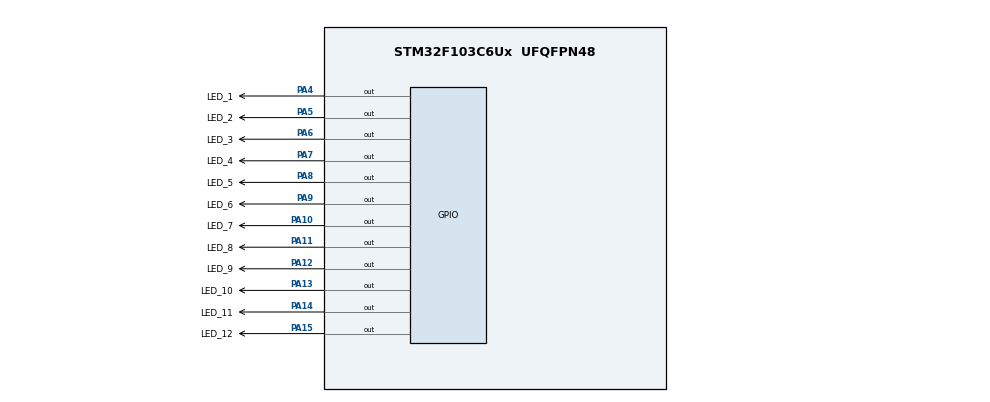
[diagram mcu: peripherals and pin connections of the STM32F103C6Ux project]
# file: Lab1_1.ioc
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Mcu.Family=STM32F1
Mcu.Name=STM32F103C6Ux
Mcu.Package=UFQFPN48
NVIC.PriorityGroup=NVIC_PRIORITYGROUP_4
PA10.GPIO_Label=LED_7
PA10.Signal=GPIO_Output
PA11.GPIO_Label=LED_8
PA11.Signal=GPIO_Output
PA12.GPIO_Label=LED_9
PA12.Signal=GPIO_Output
PA13.GPIO_Label=LED_10
PA13.Signal=GPIO_Output
PA14.GPIO_Label=LED_11
PA14.Signal=GPIO_Output
PA15.GPIO_Label=LED_12
PA15.Signal=GPIO_Output
PA4.GPIO_Label=LED_1
PA4.Signal=GPIO_Output
PA5.GPIO_Label=LED_2
PA5.Signal=GPIO_Output
PA6.GPIO_Label=LED_3
PA6.Signal=GPIO_Output
PA7.GPIO_Label=LED_4
PA7.Signal=GPIO_Output
PA8.GPIO_Label=LED_5
PA8.Signal=GPIO_Output
PA9.GPIO_Label=LED_6
PA9.Signal=GPIO_Output
ProjectManager.HeapSize=0x200
ProjectManager.StackSize=0x400
ProjectManager.TargetToolchain=STM32CubeIDE
RCC.APB1Freq_Value=8000000
RCC.APB2Freq_Value=8000000
VP_SYS_VS_ND.Mode=No_Debug
board=custom

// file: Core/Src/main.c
/* USER CODE BEGIN Header */
/**
  ******************************************************************************
  * @file           : main.c
  * @brief          : Main program body
  ******************************************************************************
  * @attention
  *
  * <h2><center>&copy; Copyright (c) 2024 STMicroelectronics.
  * All rights reserved.</center></h2>
  *
  * This software component is licensed by ST under BSD 3-Clause license,
  * the "License"; You may not use this file except in compliance with the
  * License. You may obtain a copy of the License at:
  *                        opensource.org/licenses/BSD-3-Clause
  *
  ******************************************************************************
  */
/* USER CODE END Header */
#include "main.h"

void SystemClock_Config(void);
static void MX_GPIO_Init(void);
void Exercise6_Run(void);
void Exercise7_Run(void);
void Exercise8_Run(void);
void Exercise9_Run(void);
void Exercise10_Run(void);

int main(void)
{

  /* MCU Configuration--------------------------------------------------------*/

  /* Reset of all peripherals, Initializes the Flash interface and the Systick. */
  HAL_Init();

  /* Configure the system clock */
  SystemClock_Config();

  /* Initialize all configured peripherals */
  MX_GPIO_Init();
  /* USER CODE BEGIN 2 */
  Exercise10_Run();
  /* USER CODE END 2 */

  /* Infinite loop */

}

void SystemClock_Config(void)
{
  RCC_OscInitTypeDef RCC_OscInitStruct = {0};
  RCC_ClkInitTypeDef RCC_ClkInitStruct = {0};

  /** Initializes the RCC Oscillators according to the specified parameters
  * in the RCC_OscInitTypeDef structure.
  */
  RCC_OscInitStruct.OscillatorType = RCC_OSCILLATORTYPE_HSI;
  RCC_OscInitStruct.HSIState = RCC_HSI_ON;
  RCC_OscInitStruct.HSICalibrationValue = RCC_HSICALIBRATION_DEFAULT;
  RCC_OscInitStruct.PLL.PLLState = RCC_PLL_NONE;
  if (HAL_RCC_OscConfig(&RCC_OscInitStruct) != HAL_OK)
  {
    Error_Handler();
  }
  /** Initializes the CPU, AHB and APB buses clocks
  */
  RCC_ClkInitStruct.ClockType = RCC_CLOCKTYPE_HCLK|RCC_CLOCKTYPE_SYSCLK
                              |RCC_CLOCKTYPE_PCLK1|RCC_CLOCKTYPE_PCLK2;
  RCC_ClkInitStruct.SYSCLKSource = RCC_SYSCLKSOURCE_HSI;
  RCC_ClkInitStruct.AHBCLKDivider = RCC_SYSCLK_DIV1;
  RCC_ClkInitStruct.APB1CLKDivider = RCC_HCLK_DIV1;
  RCC_ClkInitStruct.APB2CLKDivider = RCC_HCLK_DIV1;

  if (HAL_RCC_ClockConfig(&RCC_ClkInitStruct, FLASH_LATENCY_0) != HAL_OK)
  {
    Error_Handler();
  }
}

static void MX_GPIO_Init(void)
{
  GPIO_InitTypeDef GPIO_InitStruct = {0};

  /* GPIO Ports Clock Enable */
  __HAL_RCC_GPIOA_CLK_ENABLE();

  /*Configure GPIO pin Output Level */
  HAL_GPIO_WritePin(GPIOA, LED_1_Pin|LED_2_Pin|LED_3_Pin|LED_4_Pin
                          |LED_5_Pin|LED_6_Pin|LED_7_Pin|LED_8_Pin
                          |LED_9_Pin|LED_10_Pin|LED_11_Pin|LED_12_Pin, GPIO_PIN_RESET);

  /*Configure GPIO pins : LED_1_Pin LED_2_Pin LED_3_Pin LED_4_Pin
                           LED_5_Pin LED_6_Pin LED_7_Pin LED_8_Pin
                           LED_9_Pin LED_10_Pin LED_11_Pin LED_12_Pin */
  GPIO_InitStruct.Pin = LED_1_Pin|LED_2_Pin|LED_3_Pin|LED_4_Pin
                          |LED_5_Pin|LED_6_Pin|LED_7_Pin|LED_8_Pin
                          |LED_9_Pin|LED_10_Pin|LED_11_Pin|LED_12_Pin;
  GPIO_InitStruct.Mode = GPIO_MODE_OUTPUT_PP;
  GPIO_InitStruct.Pull = GPIO_NOPULL;
  GPIO_InitStruct.Speed = GPIO_SPEED_FREQ_LOW;
  HAL_GPIO_Init(GPIOA, &GPIO_InitStruct);

}

/* USER CODE BEGIN 4 */
void clearAllClock(void){
	HAL_GPIO_WritePin(LED_1_GPIO_Port , LED_1_Pin, GPIO_PIN_RESET);
	HAL_GPIO_WritePin(LED_2_GPIO_Port , LED_2_Pin, GPIO_PIN_RESET);
	HAL_GPIO_WritePin(LED_3_GPIO_Port , LED_3_Pin, GPIO_PIN_RESET);
	HAL_GPIO_WritePin(LED_4_GPIO_Port , LED_4_Pin, GPIO_PIN_RESET);
	HAL_GPIO_WritePin(LED_5_GPIO_Port , LED_5_Pin, GPIO_PIN_RESET);
	HAL_GPIO_WritePin(LED_6_GPIO_Port , LED_6_Pin, GPIO_PIN_RESET);
	HAL_GPIO_WritePin(LED_7_GPIO_Port , LED_7_Pin, GPIO_PIN_RESET);
	HAL_GPIO_WritePin(LED_8_GPIO_Port , LED_8_Pin, GPIO_PIN_RESET);
	HAL_GPIO_WritePin(LED_9_GPIO_Port , LED_9_Pin, GPIO_PIN_RESET);
	HAL_GPIO_WritePin(LED_10_GPIO_Port , LED_10_Pin, GPIO_PIN_RESET);
	HAL_GPIO_WritePin(LED_11_GPIO_Port , LED_11_Pin, GPIO_PIN_RESET);
	HAL_GPIO_WritePin(LED_12_GPIO_Port , LED_12_Pin, GPIO_PIN_RESET);
}
void Exercise6_Run(void){
	int num = 1;
	while(1){
		switch(num){
		case 1:
			clearAllClock();
			HAL_GPIO_WritePin(LED_1_GPIO_Port , LED_1_Pin, GPIO_PIN_SET);
			break;
		case 2:
			clearAllClock();
			HAL_GPIO_WritePin(LED_2_GPIO_Port , LED_2_Pin, GPIO_PIN_SET);
			break;
		case 3:
			clearAllClock();
			HAL_GPIO_WritePin(LED_3_GPIO_Port , LED_3_Pin, GPIO_PIN_SET);
			break;
		case 4:
			clearAllClock();
			HAL_GPIO_WritePin(LED_4_GPIO_Port , LED_4_Pin, GPIO_PIN_SET);
			break;
		case 5:
			clearAllClock();
			HAL_GPIO_WritePin(LED_5_GPIO_Port , LED_5_Pin, GPIO_PIN_SET);
			break;
		case 6:
			clearAllClock();
			HAL_GPIO_WritePin(LED_6_GPIO_Port , LED_6_Pin, GPIO_PIN_SET);
			break;
		case 7:
			clearAllClock();
			HAL_GPIO_WritePin(LED_7_GPIO_Port , LED_7_Pin, GPIO_PIN_SET);
			break;
		case 8:
			clearAllClock();
			HAL_GPIO_WritePin(LED_8_GPIO_Port , LED_8_Pin, GPIO_PIN_SET);
			break;
		case 9:
			clearAllClock();
			HAL_GPIO_WritePin(LED_9_GPIO_Port , LED_9_Pin, GPIO_PIN_SET);
			break;
		case 10:
			clearAllClock();
			HAL_GPIO_WritePin(LED_10_GPIO_Port , LED_10_Pin, GPIO_PIN_SET);
			break;
		case 11:
			clearAllClock();
			HAL_GPIO_WritePin(LED_11_GPIO_Port , LED_11_Pin, GPIO_PIN_SET);
			break;
		case 12:
			clearAllClock();
			HAL_GPIO_WritePin(LED_12_GPIO_Port , LED_12_Pin, GPIO_PIN_SET);
			break;
		}
		if(num == 12){
			num = 0;
		}
		num ++;
		HAL_Delay (1000) ;

	}
}
void SetNumberOnClock(int num){
		num ++;
		switch(num){
		case 1:
			HAL_GPIO_WritePin(LED_1_GPIO_Port , LED_1_Pin, GPIO_PIN_SET);
			break;
		case 2:
			HAL_GPIO_WritePin(LED_2_GPIO_Port , LED_2_Pin, GPIO_PIN_SET);
			break;
		case 3:
			HAL_GPIO_WritePin(LED_3_GPIO_Port , LED_3_Pin, GPIO_PIN_SET);
			break;
		case 4:
			HAL_GPIO_WritePin(LED_4_GPIO_Port , LED_4_Pin, GPIO_PIN_SET);
			break;
		case 5:
			HAL_GPIO_WritePin(LED_5_GPIO_Port , LED_5_Pin, GPIO_PIN_SET);
			break;
		case 6:
			HAL_GPIO_WritePin(LED_6_GPIO_Port , LED_6_Pin, GPIO_PIN_SET);
			break;
		case 7:
			HAL_GPIO_WritePin(LED_7_GPIO_Port , LED_7_Pin, GPIO_PIN_SET);
			break;
		case 8:
			HAL_GPIO_WritePin(LED_8_GPIO_Port , LED_8_Pin, GPIO_PIN_SET);
			break;
		case 9:
			HAL_GPIO_WritePin(LED_9_GPIO_Port , LED_9_Pin, GPIO_PIN_SET);
			break;
		case 10:
			HAL_GPIO_WritePin(LED_10_GPIO_Port , LED_10_Pin, GPIO_PIN_SET);
			break;
		case 11:
			HAL_GPIO_WritePin(LED_11_GPIO_Port , LED_11_Pin, GPIO_PIN_SET);
			break;
		case 12:
			HAL_GPIO_WritePin(LED_12_GPIO_Port , LED_12_Pin, GPIO_PIN_SET);
			break;
			}
}
void ClearNumberOnClock(int num){
		num ++;
		switch(num){
		case 1:
			HAL_GPIO_WritePin(LED_1_GPIO_Port , LED_1_Pin, GPIO_PIN_RESET);
			break;
		case 2:
			HAL_GPIO_WritePin(LED_2_GPIO_Port , LED_2_Pin, GPIO_PIN_RESET);
			break;
		case 3:
			HAL_GPIO_WritePin(LED_3_GPIO_Port , LED_3_Pin, GPIO_PIN_RESET);
			break;
		case 4:
			HAL_GPIO_WritePin(LED_4_GPIO_Port , LED_4_Pin, GPIO_PIN_RESET);
			break;
		case 5:
			HAL_GPIO_WritePin(LED_5_GPIO_Port , LED_5_Pin, GPIO_PIN_RESET);
			break;
		case 6:
			HAL_GPIO_WritePin(LED_6_GPIO_Port , LED_6_Pin, GPIO_PIN_RESET);
			break;
		case 7:
			HAL_GPIO_WritePin(LED_7_GPIO_Port , LED_7_Pin, GPIO_PIN_RESET);
			break;
		case 8:
			HAL_GPIO_WritePin(LED_8_GPIO_Port , LED_8_Pin, GPIO_PIN_RESET);
			break;
		case 9:
			HAL_GPIO_WritePin(LED_9_GPIO_Port , LED_9_Pin, GPIO_PIN_RESET);
			break;
		case 10:
			HAL_GPIO_WritePin(LED_10_GPIO_Port , LED_10_Pin, GPIO_PIN_RESET);
			break;
		case 11:
			HAL_GPIO_WritePin(LED_11_GPIO_Port , LED_11_Pin, GPIO_PIN_RESET);
			break;
		case 12:
			HAL_GPIO_WritePin(LED_12_GPIO_Port , LED_12_Pin, GPIO_PIN_RESET);
			break;
			}
}
void Exercise7_Run(void){
	clearAllClock();
}
void Exercise10_Run(void){
	int hour, minute, second;
	hour = 5;
	minute = 22;
	second = 36;
	int led_hour, led_minute, led_second;
	led_hour = hour;
	led_minute = minute/5;
	led_second = second/5;
	while(1){
		if(second >= 60){
			second = 0;
			minute ++;
		}
		if(minute >= 60){
			minute = 0;
			hour ++;
		}
		if(hour >= 12){
			hour = 0;
		}
		if(second/5 != led_second) ClearNumberOnClock(led_second);
		if(minute/5 != led_minute) ClearNumberOnClock(led_minute);
		if(hour != led_hour) ClearNumberOnClock(led_hour);

		led_hour = hour;
		led_minute = minute/5;
		led_second = second/5;
		SetNumberOnClock(led_hour);
		SetNumberOnClock(led_minute);
		SetNumberOnClock(led_second);

		HAL_Delay (10);
		second++;

	}

}
/* USER CODE END 4 */

void Error_Handler(void)
{
  __disable_irq();
  while (1)
  {
  }
}

/************************ (C) COPYRIGHT STMicroelectronics *****END OF FILE****/
